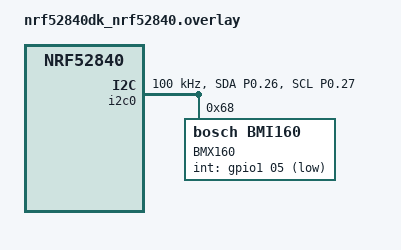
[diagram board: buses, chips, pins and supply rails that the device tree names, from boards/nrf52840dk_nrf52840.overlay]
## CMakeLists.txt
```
cmake_minimum_required(VERSION 3.20.0)
find_package(Zephyr REQUIRED HINTS $ENV{ZEPHYR_BASE})

project(IMU_test)

target_sources(app PRIVATE 
    src/main.c 
    src/bmx160_mag.c
)
```

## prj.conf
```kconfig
# Logging and Console
CONFIG_LOG=y
CONFIG_PRINTK=y
CONFIG_CONSOLE=y
CONFIG_UART_CONSOLE=y

# I2C Support
CONFIG_I2C=y

# Sensor Framework
CONFIG_SENSOR=y
CONFIG_BMI160=y
CONFIG_BMI160_TRIGGER_OWN_THREAD=y

# Float support for printf
CONFIG_CBPRINTF_FP_SUPPORT=y

# Threading
CONFIG_MAIN_THREAD_PRIORITY=7
```

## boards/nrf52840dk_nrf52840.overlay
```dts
/ {
    aliases {
        imu0 = &bmx160;
    };
};

&pinctrl {
    i2c0_default: i2c0_default {
        group1 {
            psels = <NRF_PSEL(TWIM_SDA, 0, 26)>,
                    <NRF_PSEL(TWIM_SCL, 0, 27)>;
            bias-pull-up;
        };
    };

    i2c0_sleep: i2c0_sleep {
        group1 {
            psels = <NRF_PSEL(TWIM_SDA, 0, 26)>,
                    <NRF_PSEL(TWIM_SCL, 0, 27)>;
            low-power-enable;
        };
    };
};

&i2c0 {
    compatible = "nordic,nrf-twim";
    status = "okay";
    clock-frequency = <100000>;
    pinctrl-0 = <&i2c0_default>;
    pinctrl-1 = <&i2c0_sleep>;
    pinctrl-names = "default", "sleep";

    bmx160: imu@68 {
        compatible = "bosch,bmi160";
        reg = <0x68>;
        label = "BMX160";
        int-gpios = <&gpio1 05 GPIO_ACTIVE_LOW>;
    };
};
```

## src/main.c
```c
#include <zephyr/kernel.h>
#include <zephyr/device.h>
#include <zephyr/drivers/sensor.h>
#include <zephyr/drivers/i2c.h>
#include <zephyr/logging/log.h>
#include <stdio.h>
#include "bmx160_mag.h"

LOG_MODULE_REGISTER(main, LOG_LEVEL_INF);

#define BMX160_I2C_ADDR 0x68
#define SLEEP_TIME_MS 1000

#define ACCEL_LSB_TO_G   (4.0f / 2048.0f)
#define G_TO_MS2         (9.80665f)
#define GYRO_LSB_TO_DPS  (500.0f / 32768.0f)

static inline float accel_ms2(int16_t raw) {
    return raw * ACCEL_LSB_TO_G * G_TO_MS2;
}
static inline float gyro_dps(int16_t raw) {
    return raw * GYRO_LSB_TO_DPS;
}
static inline float mag_ut(int16_t raw) {
    return raw * 0.3f;
}

int main(void)
{
    const struct device *i2c_dev;
    struct sensor_value accel[3];
    struct sensor_value gyro[3];
    struct bmx160_mag_data mag_data;
    int ret;

    LOG_INF("BMX160 IMU Demo Starting (custom driver)");

    i2c_dev = DEVICE_DT_GET(DT_NODELABEL(i2c0));
    if (!device_is_ready(i2c_dev)) {
        LOG_ERR("I2C device not ready");
        return -1;
    }

    LOG_INF("I2C device ready, initializing BMX160...");

    /* Initialize BMX160 */
    ret = bmx160_mag_init(i2c_dev, BMX160_I2C_ADDR);
    if (ret < 0) {
        LOG_ERR("BMX160 initialization failed: %d", ret);
        return ret;
    }

    ret = bmx160_set_accel_range(i2c_dev, BMX160_I2C_ADDR, BMX160_ACCEL_RANGE_4G);
    if (ret < 0) {
        LOG_WRN("Failed to set accelerometer range: %d", ret);
    }
    ret = bmx160_set_gyro_range(i2c_dev, BMX160_I2C_ADDR, BMX160_GYRO_RANGE_500DPS);
    if (ret < 0) {
        LOG_WRN("Failed to set gyroscope range: %d", ret);
    }

    LOG_INF("BMX160 initialization complete");

    while (1) {
        int16_t accel_raw[3];
        int16_t gyro_raw[3];

        /* Read accel */
        ret = bmx160_read_accel(i2c_dev, BMX160_I2C_ADDR, accel_raw);
        if (ret < 0) {
            LOG_ERR("Accel read failed: %d", ret);
        }

        /* Read gyro */
        ret = bmx160_read_gyro(i2c_dev, BMX160_I2C_ADDR, gyro_raw);
        if (ret < 0) {
            LOG_ERR("Gyro read failed: %d", ret);
        }

        /* Read magnetometer */
        ret = bmx160_mag_read_data(i2c_dev, BMX160_I2C_ADDR, &mag_data);
        if (ret < 0) {
            LOG_ERR("Mag read failed: %d", ret);
        }

        printf("A: X%7.2f Y%7.2f Z%7.2f m/s² | "
               "G: X%7.2f Y%7.2f Z%7.2f dps | "
               "M: X%7.2f Y%7.2f Z%7.2f uT\n",
               accel_ms2(accel_raw[0]), accel_ms2(accel_raw[1]), accel_ms2(accel_raw[2]),
               gyro_dps(gyro_raw[0]), gyro_dps(gyro_raw[1]), gyro_dps(gyro_raw[2]),
               mag_ut(mag_data.x), mag_ut(mag_data.y), mag_ut(mag_data.z));

        k_sleep(K_MSEC(SLEEP_TIME_MS));
    }

    return 0;
}
```

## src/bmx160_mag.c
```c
#include "bmx160_mag.h"
#include <zephyr/kernel.h>
#include <zephyr/logging/log.h>

LOG_MODULE_REGISTER(bmx160_mag, LOG_LEVEL_DBG);

static int bmx160_write_reg(const struct device *i2c_dev, uint16_t addr,
                           uint8_t reg, uint8_t val)
{
    uint8_t data[2] = {reg, val};
    return i2c_write(i2c_dev, data, sizeof(data), addr);
}

static int bmx160_read_reg(const struct device *i2c_dev, uint16_t addr,
                          uint8_t reg, uint8_t *val)
{
    return i2c_write_read(i2c_dev, addr, &reg, 1, val, 1);
}

static int bmx160_mag_write_reg(const struct device *i2c_dev, uint16_t addr,
                                uint8_t mag_reg, uint8_t val)
{
    int ret;

    /* Set manual mode */
    ret = bmx160_write_reg(i2c_dev, addr, BMX160_MAG_IF_1, MAG_IF_MANUAL_MODE);
    if (ret < 0) return ret;

    /* Set magnetometer register address */
    ret = bmx160_write_reg(i2c_dev, addr, BMX160_MAG_IF_2, mag_reg);
    if (ret < 0) return ret;

    /* Write data */
    ret = bmx160_write_reg(i2c_dev, addr, BMX160_MAG_IF_3, val);
    if (ret < 0) return ret;

    k_msleep(2); /* Wait for write completion */

    return 0;
}

int bmx160_soft_reset(const struct device *i2c_dev, uint16_t addr)
{
    int ret = bmx160_write_reg(i2c_dev, addr, BMX160_CMD, 0xB6);
    if (ret == 0) {
        k_msleep(50); /* Wait for reset completion */
    }
    return ret;
}

int bmx160_set_accel_range(const struct device *i2c_dev, uint16_t addr, uint8_t range)
{
    return bmx160_write_reg(i2c_dev, addr, 0x41, range);
}

int bmx160_set_gyro_range(const struct device *i2c_dev, uint16_t addr, uint8_t range)
{
    return bmx160_write_reg(i2c_dev, addr, 0x43, range);
}

int bmx160_mag_init(const struct device *i2c_dev, uint16_t addr)
{
    int ret;
    uint8_t chip_id;

    /* Read chip ID to verify communication */
    ret = bmx160_read_reg(i2c_dev, addr, 0x00, &chip_id);
    if (ret < 0) {
        LOG_ERR("Failed to read chip ID: %d", ret);
        return ret;
    }

    LOG_INF("BMX160 Chip ID: 0x%02X", chip_id);

    /* Configure accelerometer and gyroscope power modes */
    ret = bmx160_write_reg(i2c_dev, addr, BMX160_CMD, 0x11); /* Accel normal mode */
    if (ret < 0) return ret;
    k_msleep(5);

    ret = bmx160_write_reg(i2c_dev, addr, BMX160_CMD, 0x15); /* Gyro normal mode */
    if (ret < 0) return ret;
    k_msleep(100);

    /* Configure magnetometer interface */
    ret = bmx160_write_reg(i2c_dev, addr, BMX160_CMD, 0x19); /* Mag normal mode */
    if (ret < 0) return ret;
    k_msleep(5);

    /* Initialize BMM150 magnetometer */
    ret = bmx160_mag_write_reg(i2c_dev, addr, BMM150_POWER_CTRL, BMM150_POWER_ON);
    if (ret < 0) return ret;

    ret = bmx160_mag_write_reg(i2c_dev, addr, BMM150_OP_MODE, BMM150_NORMAL_MODE);
    if (ret < 0) return ret;

    ret = bmx160_mag_write_reg(i2c_dev, addr, BMM150_REP_XY, BMM150_REP_XY_REGULAR);
    if (ret < 0) return ret;

    ret = bmx160_mag_write_reg(i2c_dev, addr, BMM150_REP_Z, BMM150_REP_Z_REGULAR);
    if (ret < 0) return ret;

    /* Configure MAG_CONF for regular preset */
    ret = bmx160_write_reg(i2c_dev, addr, BMX160_MAG_CONF, 0x00);
    if (ret < 0) return ret;

    /* Set MAG_IF to auto mode */
    ret = bmx160_write_reg(i2c_dev, addr, BMX160_MAG_IF_1, MAG_IF_READ_BURST);
    if (ret < 0) return ret;

    LOG_INF("BMX160 magnetometer initialized successfully");
    return 0;
}

int bmx160_mag_read_data(const struct device *i2c_dev, uint16_t addr,
                         struct bmx160_mag_data *data)
{
    uint8_t raw_data[8];
    int ret;

    /* Read magnetometer data registers */
    ret = i2c_write_read(i2c_dev, addr,
                         (uint8_t[]){BMX160_MAG_DATA_X_LSB}, 1,
                         raw_data, sizeof(raw_data));
    if (ret < 0) {
        return ret;
    }

    /* Convert raw data to signed values */
    data->x = (int16_t)((raw_data[1] << 8) | raw_data[0]) >> 3;
    data->y = (int16_t)((raw_data[3] << 8) | raw_data[2]) >> 3;
    data->z = (int16_t)((raw_data[5] << 8) | raw_data[4]) >> 1;
    data->rhall = (uint16_t)((raw_data[7] << 8) | raw_data[6]) >> 2;

    return 0;
}

int bmx160_read_accel(const struct device *i2c_dev, uint16_t addr, int16_t *accel_xyz)
{
    uint8_t data[6];
    int ret;

    /* Read accel X, Y, Z (bytes 0x12–0x17) */
    ret = i2c_write_read(i2c_dev, addr, (uint8_t[]){0x12}, 1, data, sizeof(data));
    if (ret < 0) {
        return ret;
    }

    accel_xyz[0] = (int16_t)((data[1] << 8) | data[0]) >> 4;
    accel_xyz[1] = (int16_t)((data[3] << 8) | data[2]) >> 4;
    accel_xyz[2] = (int16_t)((data[5] << 8) | data[4]) >> 4;

    return 0;
}

int bmx160_read_gyro(const struct device *i2c_dev, uint16_t addr, int16_t *gyro_xyz)
{
    uint8_t data[6];
    int ret;

    /* Read gyro X, Y, Z (bytes 0x0C–0x11) */
    ret = i2c_write_read(i2c_dev, addr, (uint8_t[]){0x0C}, 1, data, sizeof(data));
    if (ret < 0) {
        return ret;
    }

    gyro_xyz[0] = (int16_t)((data[1] << 8) | data[0]) >> 4;
    gyro_xyz[1] = (int16_t)((data[3] << 8) | data[2]) >> 4;
    gyro_xyz[2] = (int16_t)((data[5] << 8) | data[4]) >> 4;

    return 0;
}
```

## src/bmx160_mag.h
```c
#ifndef BMX160_MAG_H_
#define BMX160_MAG_H_

#include <zephyr/device.h>
#include <zephyr/drivers/i2c.h>

/* BMX160 Magnetometer Registers */
#define BMX160_MAG_DATA_X_LSB       0x04
#define BMX160_MAG_DATA_X_MSB       0x05
#define BMX160_MAG_DATA_Y_LSB       0x06
#define BMX160_MAG_DATA_Y_MSB       0x07
#define BMX160_MAG_DATA_Z_LSB       0x08
#define BMX160_MAG_DATA_Z_MSB       0x09
#define BMX160_MAG_RHALL_LSB        0x0A
#define BMX160_MAG_RHALL_MSB        0x0B

#define BMX160_MAG_CONF             0x44
#define BMX160_MAG_IF_0             0x4C
#define BMX160_MAG_IF_1             0x4D
#define BMX160_MAG_IF_2             0x4E
#define BMX160_MAG_IF_3             0x4F

#define BMX160_CMD                  0x7E

/* BMM150 Registers (accessed via MAG_IF) */
#define BMM150_CHIP_ID              0x40
#define BMM150_POWER_CTRL           0x4B
#define BMM150_OP_MODE              0x4C
#define BMM150_REP_XY               0x51
#define BMM150_REP_Z                0x52

/* BMM150 Values */
#define BMM150_POWER_ON             0x01
#define BMM150_NORMAL_MODE          0x00
#define BMM150_REP_XY_REGULAR       0x04
#define BMM150_REP_Z_REGULAR        0x0E

/* MAG_IF Control Bits */
#define MAG_IF_MANUAL_MODE          0x80
#define MAG_IF_READ_BURST           0x03

struct bmx160_mag_data {
    int16_t x;
    int16_t y;
    int16_t z;
    uint16_t rhall;
};

int bmx160_mag_init(const struct device *i2c_dev, uint16_t addr);
int bmx160_mag_read_data(const struct device *i2c_dev, uint16_t addr,
                         struct bmx160_mag_data *data);
int bmx160_read_accel(const struct device *i2c_dev, uint16_t addr, int16_t *accel_xyz);
int bmx160_read_gyro(const struct device *i2c_dev, uint16_t addr, int16_t *gyro_xyz);

int bmx160_soft_reset(const struct device *i2c_dev, uint16_t addr);
int bmx160_set_accel_range(const struct device *i2c_dev, uint16_t addr, uint8_t range);
int bmx160_set_gyro_range(const struct device *i2c_dev, uint16_t addr, uint8_t range);

/* Range constants matching Arduino library */
#define BMX160_ACCEL_RANGE_2G       0x03
#define BMX160_ACCEL_RANGE_4G       0x05
#define BMX160_ACCEL_RANGE_8G       0x08
#define BMX160_ACCEL_RANGE_16G      0x0C

#define BMX160_GYRO_RANGE_2000DPS   0x00
#define BMX160_GYRO_RANGE_1000DPS   0x01
#define BMX160_GYRO_RANGE_500DPS    0x02
#define BMX160_GYRO_RANGE_250DPS    0x03
#define BMX160_GYRO_RANGE_125DPS    0x04

#endif /* BMX160_MAG_H_ */
```
